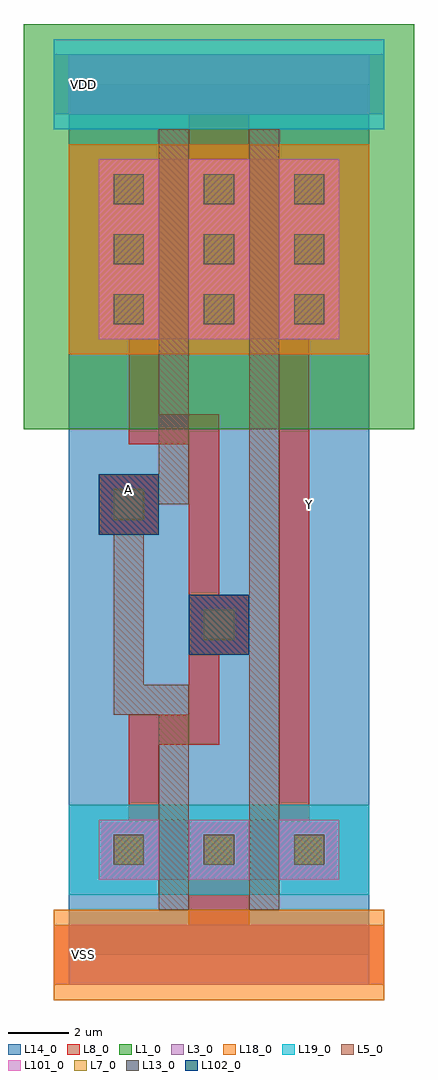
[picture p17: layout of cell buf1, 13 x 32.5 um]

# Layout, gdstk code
import gdstk
lib = gdstk.Library(unit=1e-6, precision=1e-09)
def R(c, l, rs):  # rectangles x0, y0, x1, y1
    for r in rs: c.add(gdstk.rectangle(r[:2], r[2:], *l))
L1_0 = (1, 0)
L3_0 = (3, 0)
L5_0 = (5, 0)
L7_0 = (7, 0)
L8_0 = (8, 0)
L13_0 = (13, 0)
L14_0 = (14, 0)
L18_0 = (18, 0)
L19_0 = (19, 0)
L101_0 = (101, 0)
L102_0 = (102, 0)

dcont = lib.new_cell('dcont')
R(dcont, L3_0, [(-1,-1,1,1)])
R(dcont, L7_0, [(-0.5,-0.5,0.5,0.5)])
R(dcont, L8_0, [(-1,-1,1,1)])
R(dcont, L13_0, [(-0.5,-0.5,0.5,0.5)])
R(dcont, L101_0, [(-1,-1,1,1)])
dcont.add(gdstk.Label('dcont', (0,0), layer=13, texttype=0))

pcont = lib.new_cell('pcont')
R(pcont, L5_0, [(-1,-1,1,1)])
R(pcont, L7_0, [(-0.5,-0.5,0.5,0.5)])
R(pcont, L8_0, [(-1,-1,1,1)])
R(pcont, L102_0, [(-1,-1,1,1)])
pcont.add(gdstk.Label('pcont', (0,0), layer=13, texttype=0))

buf1 = lib.new_cell('buf1')
R(buf1, L1_0, [(-1.5,17.5,11.5,31)])
R(buf1, L3_0, [(0,-1,10,1), (1,2.5,9,4.5), (1,20.5,9,26.5), (0,28,10,30)])
R(buf1, L8_0, [(-0.5,-1,10.5,1), (4,-1,6,4.5), (2,4.5,3,8), (7,4.5,8,20.5), (3,7,5,8), (3,7,5,8), (4,8,5,18), (1,14,3,16), (2,17,4,18), (2,18,3,20.5), (4,20.5,6,30), (-0.5,28,10.5,30)])
R(buf1, L14_0, [(0,0,10,29)])
R(buf1, L18_0, [(-0.5,-1.5,10.5,1.5), (0,20,10,27)])
R(buf1, L19_0, [(0,2,10,5), (-0.5,27.5,10.5,30.5)])
buf1.add(gdstk.FlexPath([(3.5,2),(3.5,8.5),(2,8.5),(2,15.5),(3.5,15.5),(3.5,27)], 1, ends="extended", simple_path=True, layer=5, datatype=0))  # L5_0
buf1.add(gdstk.FlexPath([(6.5,27),(6.5,2)], 1, ends="extended", simple_path=True, layer=5, datatype=0))  # L5_0
buf1.add(gdstk.FlexPath([(2,22.3),(2,25.5)], 1.4, ends="extended", simple_path=True, layer=8, datatype=0))  # L8_0
buf1.add(gdstk.FlexPath([(8,22.3),(8,25.5)], 1.4, ends="extended", simple_path=True, layer=8, datatype=0))  # L8_0
buf1.add(gdstk.Reference(dcont, (5,21.5)))
buf1.add(gdstk.Reference(dcont, (2,25.5)))
buf1.add(gdstk.Reference(dcont, (5,25.5)))
buf1.add(gdstk.Reference(dcont, (8,25.5)))
buf1.add(gdstk.Reference(dcont, (2,21.5)))
buf1.add(gdstk.Reference(dcont, (5,3.5)))
buf1.add(gdstk.Reference(dcont, (8,23.5)))
buf1.add(gdstk.Reference(dcont, (2,3.5)))
buf1.add(gdstk.Reference(dcont, (8,21.5)))
buf1.add(gdstk.Reference(dcont, (2,23.5)))
buf1.add(gdstk.Reference(pcont, (2,15)))
buf1.add(gdstk.Reference(dcont, (5,23.5)))
buf1.add(gdstk.Reference(dcont, (8,3.5)))
buf1.add(gdstk.Reference(pcont, (5,11)))
buf1.add(gdstk.Label('Y', (8,15), layer=8, texttype=0))
buf1.add(gdstk.Label('VDD', (0.5,29), layer=8, texttype=0))
buf1.add(gdstk.Label('VSS', (0.5,0), layer=8, texttype=0))
buf1.add(gdstk.Label('A', (2,15.5), layer=8, texttype=0))

lib.write_gds('buf1.gds')
